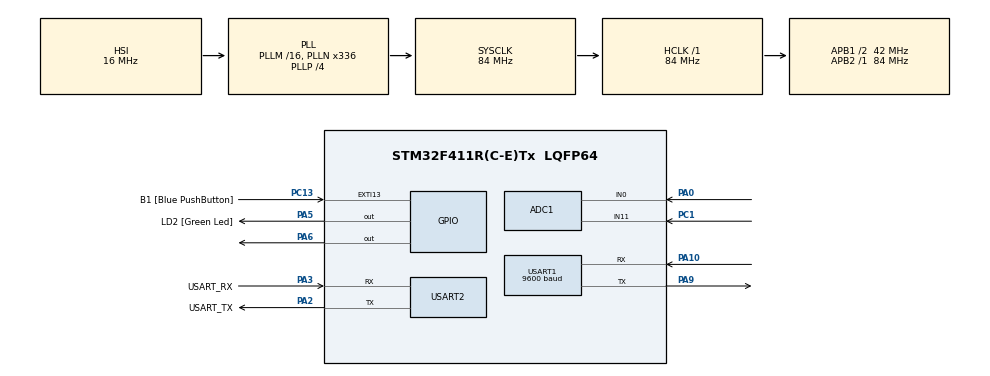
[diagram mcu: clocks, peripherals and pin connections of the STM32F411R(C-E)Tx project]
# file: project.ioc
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ADC1.Channel-5\#ChannelRegularConversion=ADC_CHANNEL_11
ADC1.Channel-7\#ChannelRegularConversion=ADC_CHANNEL_0
ADC1.DMAContinuousRequests=ENABLE
ADC1.NbrOfConversion=2
ADC1.NbrOfConversionFlag=1
ADC1.Rank-7\#ChannelRegularConversion=2
ADC1.SamplingTime-7\#ChannelRegularConversion=ADC_SAMPLETIME_3CYCLES
ADC1.master=1
Dma.ADC1.0.Direction=DMA_PERIPH_TO_MEMORY
Dma.ADC1.0.FIFOMode=DMA_FIFOMODE_DISABLE
Dma.ADC1.0.Instance=DMA2_Stream0
Dma.ADC1.0.MemDataAlignment=DMA_MDATAALIGN_HALFWORD
Dma.ADC1.0.MemInc=DMA_MINC_ENABLE
Dma.ADC1.0.Mode=DMA_NORMAL
Dma.ADC1.0.PeriphDataAlignment=DMA_PDATAALIGN_HALFWORD
Dma.ADC1.0.PeriphInc=DMA_PINC_DISABLE
Dma.ADC1.0.Priority=DMA_PRIORITY_LOW
Dma.Request0=ADC1
Mcu.Family=STM32F4
Mcu.Name=STM32F411R(C-E)Tx
Mcu.Package=LQFP64
NVIC.DMA2_Stream0_IRQn=true\:0\:0\:false\:false\:true\:false\:true\:true
NVIC.PriorityGroup=NVIC_PRIORITYGROUP_2
NVIC.TIM2_IRQn=true\:2\:0\:true\:false\:true\:true\:true\:true
PA0-WKUP.Signal=ADCx_IN0
PA10.Mode=Asynchronous
PA10.Signal=USART1_RX
PA13.GPIO_Label=TMS
PA13.Mode=Serial_Wire
PA13.Signal=SYS_JTMS-SWDIO
PA14.GPIO_Label=TCK
PA14.Mode=Serial_Wire
PA14.Signal=SYS_JTCK-SWCLK
PA2.GPIO_Label=USART_TX
PA2.Mode=Asynchronous
PA2.Signal=USART2_TX
PA3.GPIO_Label=USART_RX
PA3.Mode=Asynchronous
PA3.Signal=USART2_RX
PA5.GPIO_Label=LD2 [Green Led]
PA5.Signal=GPIO_Output
PA6.Signal=GPIO_Output
PA9.Mode=Asynchronous
PA9.Signal=USART1_TX
PB3.GPIO_Label=SWO
PB3.Signal=SYS_JTDO-SWO
PC1.Signal=ADCx_IN11
PC13-ANTI_TAMP.GPIO_Label=B1 [Blue PushButton]
PC13-ANTI_TAMP.GPIO_ModeDefaultEXTI=GPIO_MODE_IT_FALLING
PC13-ANTI_TAMP.Signal=GPXTI13
PC14-OSC32_IN.Mode=LSE-External-Oscillator
PC14-OSC32_IN.Signal=RCC_OSC32_IN
PC15-OSC32_OUT.Mode=LSE-External-Oscillator
PC15-OSC32_OUT.Signal=RCC_OSC32_OUT
PH0\ -\ OSC_IN.Mode=HSE-External-Clock-Source
PH0\ -\ OSC_IN.Signal=RCC_OSC_IN
PH1\ -\ OSC_OUT.Mode=HSE-External-Clock-Source
PH1\ -\ OSC_OUT.Signal=RCC_OSC_OUT
ProjectManager.HeapSize=0x200
ProjectManager.StackSize=0x400
ProjectManager.TargetToolchain=STM32CubeIDE
RCC.48MHZClocksFreq_Value=84000000
RCC.AHBFreq_Value=84000000
RCC.APB1CLKDivider=RCC_HCLK_DIV2
RCC.APB1Freq_Value=42000000
RCC.APB1TimFreq_Value=84000000
RCC.APB2Freq_Value=84000000
RCC.APB2TimFreq_Value=84000000
RCC.CortexFreq_Value=84000000
RCC.FLatency-AdvancedSettings=FLASH_LATENCY_2
RCC.HCLKFreq_Value=84000000
RCC.HSE_VALUE=8000000
RCC.HSI_VALUE=16000000
RCC.PLLN=336
RCC.PLLP=RCC_PLLP_DIV4
RCC.SYSCLKFreq_VALUE=84000000
RCC.SYSCLKSource=RCC_SYSCLKSOURCE_PLLCLK
RCC.VCOOutputFreq_Value=336000000
SH.ADCx_IN0.0=ADC1_IN0,IN0
SH.ADCx_IN11.0=ADC1_IN11,IN11
TIM2.Period=65535
TIM2.Prescaler=8400-1
TIM3.Prescaler=84-1
USART1.BaudRate=9600
USART1.VirtualMode=VM_ASYNC
USART2.VirtualMode=VM_ASYNC
VP_TIM2_VS_ClockSourceINT.Mode=Internal
VP_TIM3_VS_ClockSourceINT.Mode=Internal
board=NUCLEO-F411RE

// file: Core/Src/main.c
/* USER CODE BEGIN Header */
/**
  ******************************************************************************
  * @file           : main.c
  * @brief          : Main program body
  ******************************************************************************
  * @attention
  *
  * Copyright (c) 2023 STMicroelectronics.
  * All rights reserved.
  *
  * This software is licensed under terms that can be found in the LICENSE file
  * in the root directory of this software component.
  * If no LICENSE file comes with this software, it is provided AS-IS.
  *
  ******************************************************************************
  */
/* USER CODE END Header */
#include "main.h"

ADC_HandleTypeDef hadc1;
DMA_HandleTypeDef hdma_adc1;

TIM_HandleTypeDef htim2;
TIM_HandleTypeDef htim3;

UART_HandleTypeDef huart1;
UART_HandleTypeDef huart2;

void SystemClock_Config(void);
static void MX_GPIO_Init(void);
static void MX_DMA_Init(void);
static void MX_USART2_UART_Init(void);
static void MX_ADC1_Init(void);
static void MX_TIM3_Init(void);
static void MX_USART1_UART_Init(void);
static void MX_TIM2_Init(void);

/* USER CODE BEGIN 0 */
void delay (uint16_t time)
{
	/* change your code here for the delay in microseconds */
	__HAL_TIM_SET_COUNTER(&htim3, 0);
	while ((__HAL_TIM_GET_COUNTER(&htim3))<time);
}

uint8_t Rh_byte1, Rh_byte2, Temp_byte1, Temp_byte2;
uint16_t SUM, RH, TEMP;

float Temperature = 0;
float Humidity = 0;
uint8_t Presence = 0,timechk=0;

void Set_Pin_Output (GPIO_TypeDef *GPIOx, uint16_t GPIO_Pin)
{
	GPIO_InitTypeDef GPIO_InitStruct = {0};
	GPIO_InitStruct.Pin = GPIO_Pin;
	GPIO_InitStruct.Mode = GPIO_MODE_OUTPUT_PP;
	GPIO_InitStruct.Speed = GPIO_SPEED_FREQ_LOW;
	HAL_GPIO_Init(GPIOx, &GPIO_InitStruct);
}

void Set_Pin_Input (GPIO_TypeDef *GPIOx, uint16_t GPIO_Pin)
{
	GPIO_InitTypeDef GPIO_InitStruct = {0};
	GPIO_InitStruct.Pin = GPIO_Pin;
	GPIO_InitStruct.Mode = GPIO_MODE_INPUT;
	GPIO_InitStruct.Pull = GPIO_PULLUP;
	HAL_GPIO_Init(GPIOx, &GPIO_InitStruct);
}

void DHT22_Start (GPIO_TypeDef *GPIOx, uint16_t GPIO_Pin)
{
	Set_Pin_Output(GPIOx, GPIO_Pin); // set the pin as output
	HAL_GPIO_WritePin (GPIOx, GPIO_Pin, 0);   // pull the pin low
	delay(1200);   // wait for > 1ms

	HAL_GPIO_WritePin (GPIOx, GPIO_Pin, 1);   // pull the pin high
	delay (20);   // wait for 30us

	Set_Pin_Input(GPIOx, GPIO_Pin);   // set as input
}

uint8_t DHT22_Check_Response (GPIO_TypeDef *GPIOx, uint16_t GPIO_Pin)
{
	Set_Pin_Input(GPIOx, GPIO_Pin);   // set as input
	uint8_t Response = 0;
	delay (40);  // wait for 40us
	if (!(HAL_GPIO_ReadPin (GPIOx, GPIO_Pin))) // if the pin is low
	{
		delay (80);   // wait for 80us

		if ((HAL_GPIO_ReadPin (GPIOx, GPIO_Pin))) Response = 1;  // if the pin is high, response is ok
		else Response = -1;
	}

	while ((HAL_GPIO_ReadPin (GPIOx, GPIO_Pin)));   // wait for the pin to go low
	return Response;
}

uint8_t DHT22_Read (GPIO_TypeDef *GPIOx, uint16_t GPIO_Pin)
{
	uint8_t i,j;
	for (j=0;j<8;j++)
	{
		while (!(HAL_GPIO_ReadPin (GPIOx, GPIO_Pin)));   // wait for the pin to go high
		delay (40);   // wait for 40 us

		if (!(HAL_GPIO_ReadPin (GPIOx, GPIO_Pin)))   // if the pin is low
		{
			i&= ~(1<<(7-j));   // write 0
		}
		else i|= (1<<(7-j));  // if the pin is high, write 1
		while ((HAL_GPIO_ReadPin (GPIOx, GPIO_Pin)));  // wait for the pin to go low
	}

	return i;
}

uint16_t adcbuff[2]={};
float dustandgas[2]={};

void read_sensor(ADC_HandleTypeDef* hadc,GPIO_TypeDef *GPIOx, uint16_t GPIO_Pin){
	int voMeasured = 0;
	float calcVoltage = 0;
	float dust_voltage =0;
	float gas_voltage = 0;
	float gasDensity = 0;
	float dustDensity = 0;
	uint8_t sample =100;

//read dust
	for(int i=0;i<sample;i++){
	HAL_GPIO_WritePin(GPIOx, GPIO_Pin, 0);
	delay(280);
	HAL_ADC_Start_DMA(&hadc1, (uint32_t *)adcbuff , 2);
	HAL_Delay(1);
	dust_voltage+= adcbuff[0]*(5.0/4096);
	delay(280);
	HAL_GPIO_WritePin(GPIOx, GPIO_Pin, 1);
	delay(9680);
	HAL_Delay(1);

}

//read gas
	HAL_Delay(100);

	for(int i=0;i<sample;i++){
	HAL_ADC_Start_DMA(&hadc1, (uint32_t *)adcbuff , 2);
	HAL_Delay(1);
	gas_voltage += adcbuff[1]*(5.0/4096);
	HAL_Delay(1);
	}

	dust_voltage/=sample;
	gas_voltage/=sample;

	gasDensity = gas_voltage*1000;
	dustDensity = 172*dust_voltage-100;

	  if ( dustDensity < 0)
	  {
	    dustDensity = 0.00;
	  }

	  dustandgas[0] =  dustDensity ;
	  dustandgas[1] = gasDensity;

	//  return dustDensity;

}

void HAL_TIM_PeriodElapsedCallback(TIM_HandleTypeDef *htim){

	timechk++;
	if(timechk==10){
		NVIC_SystemReset();
	}
	//HAL_GPIO_TogglePin(GPIOA, GPIO_PIN_5);

}

/* USER CODE END 0 */

int main(void)
{

  /* MCU Configuration--------------------------------------------------------*/

  /* Reset of all peripherals, Initializes the Flash interface and the Systick. */
  HAL_Init();

  /* Configure the system clock */
  SystemClock_Config();

  /* Initialize all configured peripherals */
  MX_GPIO_Init();
  MX_DMA_Init();
  MX_USART2_UART_Init();
  MX_ADC1_Init();
  MX_TIM3_Init();
  MX_USART1_UART_Init();
  MX_TIM2_Init();
  /* USER CODE BEGIN 2 */
	  HAL_TIM_Base_Start_IT(&htim3);
	  HAL_TIM_Base_Start_IT(&htim2);
	uint16_t pinar[3]={GPIO_PIN_0,GPIO_PIN_1,GPIO_PIN_4};
	float tem,hu,dust,gas;
	HAL_GPIO_WritePin(GPIOA, GPIO_PIN_6, 1);
  /* USER CODE END 2 */

  /* Infinite loop */
  /* USER CODE BEGIN WHILE */
  while (1)
  {
	  // dht22 read
	  DHT22_Start(GPIOB, GPIO_PIN_0);
	  Presence = DHT22_Check_Response(GPIOB, GPIO_PIN_0);
	  Rh_byte1 = DHT22_Read (GPIOB, GPIO_PIN_0);
   Rh_byte2 = DHT22_Read (GPIOB, GPIO_PIN_0);
	  Temp_byte1 = DHT22_Read (GPIOB, GPIO_PIN_0);
	  Temp_byte2 = DHT22_Read (GPIOB, GPIO_PIN_0);
	  SUM = DHT22_Read(GPIOB, GPIO_PIN_0);

	  TEMP = ((Temp_byte1<<8)|Temp_byte2);
	  RH = ((Rh_byte1<<8)|Rh_byte2);

	  //Temperature = (float) (TEMP/10.0);
	  //Humidity = (float) (RH/10.0);
	  tem = (float) (TEMP/10.0);
	  hu = (float) (RH/10.0);

	  // cal HI(heatindex)
	  float HI = -8.78469475556 + 1.61139411 * tem + 2.33854883889 * hu
			  - 0.14611605 * tem * hu - 0.012308094 * tem * tem
			  - 0.0164248277778 * hu * hu + 0.002211732 * tem * tem * hu
			  + 0.00072546 * tem * hu * hu - 0.000003582 * tem * tem * hu * hu;

	  //read gas and dust
read_sensor(&hadc1, GPIOA, GPIO_PIN_6);
	  dust = dustandgas[0];
	  gas=dustandgas[1];

	 // check error
	if(hu>100 || tem > 50 || HI > 70){
		HAL_Delay(100);
		continue;
	}

	//transit
	uint8_t sz=0;
	char buffer[150]="";
	sprintf(buffer,"%.1f|%.1f|%.2f|%.2f|%.2f\n",
	hu,tem,dust,HI,gas);

	while(buffer[sz])
			sz++;

	HAL_UART_Transmit(&huart2, buffer, sz, HAL_MAX_DELAY);
	HAL_UART_Transmit(&huart2,"\r", 1, HAL_MAX_DELAY);
	HAL_UART_Transmit(&huart1, buffer, sz, HAL_MAX_DELAY);

	//check respon
	timechk=0;

	// main delay
	HAL_Delay(5000);

    /* USER CODE END WHILE */

  }
}

void SystemClock_Config(void)
{
  RCC_OscInitTypeDef RCC_OscInitStruct = {0};
  RCC_ClkInitTypeDef RCC_ClkInitStruct = {0};

  /** Configure the main internal regulator output voltage
  */
  __HAL_RCC_PWR_CLK_ENABLE();
  __HAL_PWR_VOLTAGESCALING_CONFIG(PWR_REGULATOR_VOLTAGE_SCALE1);

  /** Initializes the RCC Oscillators according to the specified parameters
  * in the RCC_OscInitTypeDef structure.
  */
  RCC_OscInitStruct.OscillatorType = RCC_OSCILLATORTYPE_HSI;
  RCC_OscInitStruct.HSIState = RCC_HSI_ON;
  RCC_OscInitStruct.HSICalibrationValue = RCC_HSICALIBRATION_DEFAULT;
  RCC_OscInitStruct.PLL.PLLState = RCC_PLL_ON;
  RCC_OscInitStruct.PLL.PLLSource = RCC_PLLSOURCE_HSI;
  RCC_OscInitStruct.PLL.PLLM = 16;
  RCC_OscInitStruct.PLL.PLLN = 336;
  RCC_OscInitStruct.PLL.PLLP = RCC_PLLP_DIV4;
  RCC_OscInitStruct.PLL.PLLQ = 4;
  if (HAL_RCC_OscConfig(&RCC_OscInitStruct) != HAL_OK)
  {
    Error_Handler();
  }

  /** Initializes the CPU, AHB and APB buses clocks
  */
  RCC_ClkInitStruct.ClockType = RCC_CLOCKTYPE_HCLK|RCC_CLOCKTYPE_SYSCLK
                              |RCC_CLOCKTYPE_PCLK1|RCC_CLOCKTYPE_PCLK2;
  RCC_ClkInitStruct.SYSCLKSource = RCC_SYSCLKSOURCE_PLLCLK;
  RCC_ClkInitStruct.AHBCLKDivider = RCC_SYSCLK_DIV1;
  RCC_ClkInitStruct.APB1CLKDivider = RCC_HCLK_DIV2;
  RCC_ClkInitStruct.APB2CLKDivider = RCC_HCLK_DIV1;

  if (HAL_RCC_ClockConfig(&RCC_ClkInitStruct, FLASH_LATENCY_2) != HAL_OK)
  {
    Error_Handler();
  }
}

static void MX_ADC1_Init(void)
{

  ADC_ChannelConfTypeDef sConfig = {0};

  /** Configure the global features of the ADC (Clock, Resolution, Data Alignment and number of conversion)
  */
  hadc1.Instance = ADC1;
  hadc1.Init.ClockPrescaler = ADC_CLOCK_SYNC_PCLK_DIV4;
  hadc1.Init.Resolution = ADC_RESOLUTION_12B;
  hadc1.Init.ScanConvMode = ENABLE;
  hadc1.Init.ContinuousConvMode = DISABLE;
  hadc1.Init.DiscontinuousConvMode = DISABLE;
  hadc1.Init.ExternalTrigConvEdge = ADC_EXTERNALTRIGCONVEDGE_NONE;
  hadc1.Init.ExternalTrigConv = ADC_SOFTWARE_START;
  hadc1.Init.DataAlign = ADC_DATAALIGN_RIGHT;
  hadc1.Init.NbrOfConversion = 2;
  hadc1.Init.DMAContinuousRequests = ENABLE;
  hadc1.Init.EOCSelection = ADC_EOC_SINGLE_CONV;
  if (HAL_ADC_Init(&hadc1) != HAL_OK)
  {
    Error_Handler();
  }

  /** Configure for the selected ADC regular channel its corresponding rank in the sequencer and its sample time.
  */
  sConfig.Channel = ADC_CHANNEL_11;
  sConfig.Rank = 1;
  sConfig.SamplingTime = ADC_SAMPLETIME_3CYCLES;
  if (HAL_ADC_ConfigChannel(&hadc1, &sConfig) != HAL_OK)
  {
    Error_Handler();
  }

  /** Configure for the selected ADC regular channel its corresponding rank in the sequencer and its sample time.
  */
  sConfig.Channel = ADC_CHANNEL_0;
  sConfig.Rank = 2;
  if (HAL_ADC_ConfigChannel(&hadc1, &sConfig) != HAL_OK)
  {
    Error_Handler();
  }

}

static void MX_TIM2_Init(void)
{

  TIM_ClockConfigTypeDef sClockSourceConfig = {0};
  TIM_MasterConfigTypeDef sMasterConfig = {0};

  htim2.Instance = TIM2;
  htim2.Init.Prescaler = 8400-1;
  htim2.Init.CounterMode = TIM_COUNTERMODE_UP;
  htim2.Init.Period = 65535;
  htim2.Init.ClockDivision = TIM_CLOCKDIVISION_DIV1;
  htim2.Init.AutoReloadPreload = TIM_AUTORELOAD_PRELOAD_DISABLE;
  if (HAL_TIM_Base_Init(&htim2) != HAL_OK)
  {
    Error_Handler();
  }
  sClockSourceConfig.ClockSource = TIM_CLOCKSOURCE_INTERNAL;
  if (HAL_TIM_ConfigClockSource(&htim2, &sClockSourceConfig) != HAL_OK)
  {
    Error_Handler();
  }
  sMasterConfig.MasterOutputTrigger = TIM_TRGO_RESET;
  sMasterConfig.MasterSlaveMode = TIM_MASTERSLAVEMODE_DISABLE;
  if (HAL_TIMEx_MasterConfigSynchronization(&htim2, &sMasterConfig) != HAL_OK)
  {
    Error_Handler();
  }

}

static void MX_TIM3_Init(void)
{

  TIM_ClockConfigTypeDef sClockSourceConfig = {0};
  TIM_MasterConfigTypeDef sMasterConfig = {0};

  htim3.Instance = TIM3;
  htim3.Init.Prescaler = 84-1;
  htim3.Init.CounterMode = TIM_COUNTERMODE_UP;
  htim3.Init.Period = 65535;
  htim3.Init.ClockDivision = TIM_CLOCKDIVISION_DIV1;
  htim3.Init.AutoReloadPreload = TIM_AUTORELOAD_PRELOAD_DISABLE;
  if (HAL_TIM_Base_Init(&htim3) != HAL_OK)
  {
    Error_Handler();
  }
  sClockSourceConfig.ClockSource = TIM_CLOCKSOURCE_INTERNAL;
  if (HAL_TIM_ConfigClockSource(&htim3, &sClockSourceConfig) != HAL_OK)
  {
    Error_Handler();
  }
  sMasterConfig.MasterOutputTrigger = TIM_TRGO_RESET;
  sMasterConfig.MasterSlaveMode = TIM_MASTERSLAVEMODE_DISABLE;
  if (HAL_TIMEx_MasterConfigSynchronization(&htim3, &sMasterConfig) != HAL_OK)
  {
    Error_Handler();
  }

}

static void MX_USART1_UART_Init(void)
{

  huart1.Instance = USART1;
  huart1.Init.BaudRate = 9600;
  huart1.Init.WordLength = UART_WORDLENGTH_8B;
  huart1.Init.StopBits = UART_STOPBITS_1;
  huart1.Init.Parity = UART_PARITY_NONE;
  huart1.Init.Mode = UART_MODE_TX_RX;
  huart1.Init.HwFlowCtl = UART_HWCONTROL_NONE;
  huart1.Init.OverSampling = UART_OVERSAMPLING_16;
  if (HAL_UART_Init(&huart1) != HAL_OK)
  {
    Error_Handler();
  }

}

static void MX_USART2_UART_Init(void)
{

  huart2.Instance = USART2;
  huart2.Init.BaudRate = 115200;
  huart2.Init.WordLength = UART_WORDLENGTH_8B;
  huart2.Init.StopBits = UART_STOPBITS_1;
  huart2.Init.Parity = UART_PARITY_NONE;
  huart2.Init.Mode = UART_MODE_TX_RX;
  huart2.Init.HwFlowCtl = UART_HWCONTROL_NONE;
  huart2.Init.OverSampling = UART_OVERSAMPLING_16;
  if (HAL_UART_Init(&huart2) != HAL_OK)
  {
    Error_Handler();
  }

}

static void MX_DMA_Init(void)
{

  /* DMA controller clock enable */
  __HAL_RCC_DMA2_CLK_ENABLE();

  /* DMA interrupt init */
  /* DMA2_Stream0_IRQn interrupt configuration */
  HAL_NVIC_SetPriority(DMA2_Stream0_IRQn, 0, 0);
  HAL_NVIC_EnableIRQ(DMA2_Stream0_IRQn);

}

static void MX_GPIO_Init(void)
{
  GPIO_InitTypeDef GPIO_InitStruct = {0};

  /* GPIO Ports Clock Enable */
  __HAL_RCC_GPIOC_CLK_ENABLE();
  __HAL_RCC_GPIOH_CLK_ENABLE();
  __HAL_RCC_GPIOA_CLK_ENABLE();
  __HAL_RCC_GPIOB_CLK_ENABLE();

  /*Configure GPIO pin Output Level */
  HAL_GPIO_WritePin(GPIOA, LD2_Pin|GPIO_PIN_6, GPIO_PIN_RESET);

  /*Configure GPIO pin : B1_Pin */
  GPIO_InitStruct.Pin = B1_Pin;
  GPIO_InitStruct.Mode = GPIO_MODE_IT_FALLING;
  GPIO_InitStruct.Pull = GPIO_NOPULL;
  HAL_GPIO_Init(B1_GPIO_Port, &GPIO_InitStruct);

  /*Configure GPIO pins : LD2_Pin PA6 */
  GPIO_InitStruct.Pin = LD2_Pin|GPIO_PIN_6;
  GPIO_InitStruct.Mode = GPIO_MODE_OUTPUT_PP;
  GPIO_InitStruct.Pull = GPIO_NOPULL;
  GPIO_InitStruct.Speed = GPIO_SPEED_FREQ_LOW;
  HAL_GPIO_Init(GPIOA, &GPIO_InitStruct);

}

void Error_Handler(void)
{
  __disable_irq();
  while (1)
  {
  }
}
